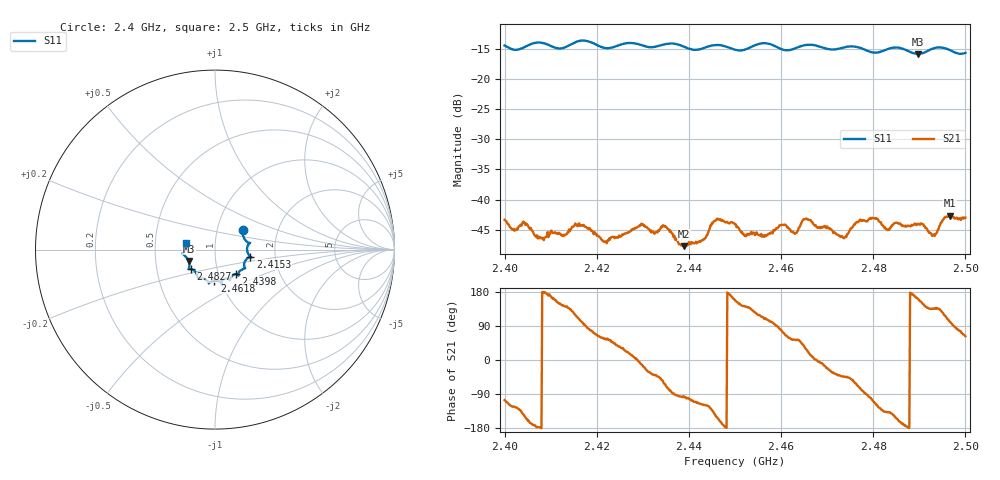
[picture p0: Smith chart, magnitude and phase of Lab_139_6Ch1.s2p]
# Hz S RI R 50
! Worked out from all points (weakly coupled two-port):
!   601 points, 2.4 GHz to 2.5 GHz, reference 50 ohm
!   highest |S21| = -42.64 dB at 2.4967 GHz (marker M1); lowest = -47.7 dB at 2.4388 GHz (marker M2)
!   lowest |S11| = -15.9 dB at 2.4897 GHz (marker M3), VSWR 1.38, Z = 36.9 - j4.81 ohm
!   |S11| at or under -10 dB: start of sweep to end of sweep
!   S12 and S22 are empty: the file has one direction only
!   S11 on the Smith chart (normalised r, x): 2.4 GHz: 1.33, +0.29; 2.4153 GHz: 1.48, -0.12; 2.4398 GHz: 1.21, -0.34; 2.4618 GHz: 0.94, -0.33; 2.4827 GHz: 0.75, -0.17; 2.5 GHz: 0.72, +0.06
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2.4e9  0.1553 0.1069  -0.00186 -0.00656  0 0  0 0
2.408e9  0.1953 0.0375  -0.00486 -1.01e-05  0 0  0 0
2.415333e9  0.1969 -0.0389  -0.00309 0.00556  0 0  0 0
2.416667e9  0.2027 -0.0432  -0.00125 0.00601  0 0  0 0
2.421667e9  0.1694 -0.0608  0.00248 0.00372  0 0  0 0
2.4295e9  0.1578 -0.1078  0.00603 -0.00108  0 0  0 0
2.433333e9  0.1298 -0.1341  0.00401 -0.00385  0 0  0 0
2.438833e9  0.1237 -0.1374  -0.000398 -0.00411  0 0  0 0
2.439833e9  0.1153 -0.1361  -0.000754 -0.00423  0 0  0 0
2.446e9  0.084 -0.171  -0.00599 -0.0034  0 0  0 0
2.45e9  0.0644 -0.1619  -0.00579 0.00238  0 0  0 0
2.452167e9  0.043 -0.1691  -0.00399 0.00321  0 0  0 0
2.461833e9  -0.00316 -0.1728  0.00297 0.00486  0 0  0 0
2.466667e9  -0.0347 -0.1879  0.00642 0.00115  0 0  0 0
2.473333e9  -0.0836 -0.1602  0.00356 -0.00342  0 0  0 0
2.479667e9  -0.1075 -0.1264  -0.00169 -0.00677  0 0  0 0
2.482667e9  -0.135 -0.1088  -0.00418 -0.00391  0 0  0 0
2.483333e9  -0.1402 -0.1085  -0.00422 -0.00382  0 0  0 0
2.489667e9  -0.1474 -0.0635  -0.00604 0.00193  0 0  0 0
2.493167e9  -0.1773 -0.0256  -0.00371 0.00361  0 0  0 0
2.496667e9  -0.1722 -0.0102  -0.00138 0.00725  0 0  0 0
2.5e9  -0.1591 0.039  0.00326 0.00632  0 0  0 0
